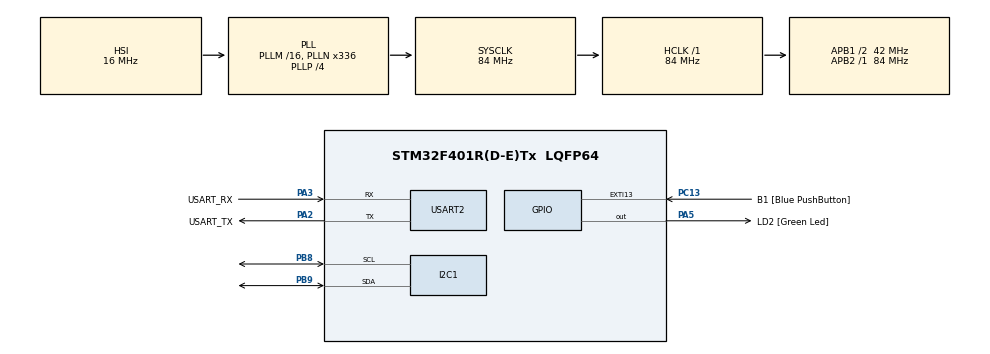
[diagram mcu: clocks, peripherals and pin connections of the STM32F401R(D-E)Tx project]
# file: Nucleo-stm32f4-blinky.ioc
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Mcu.Family=STM32F4
Mcu.Name=STM32F401R(D-E)Tx
Mcu.Package=LQFP64
NVIC.PriorityGroup=NVIC_PRIORITYGROUP_0
NVIC.TIM3_IRQn=true\:0\:0\:false\:false\:true\:true\:true\:true
PA13.GPIO_Label=TMS
PA13.Mode=Serial_Wire
PA13.Signal=SYS_JTMS-SWDIO
PA14.GPIO_Label=TCK
PA14.Mode=Serial_Wire
PA14.Signal=SYS_JTCK-SWCLK
PA2.GPIO_Label=USART_TX
PA2.GPIO_Mode=GPIO_MODE_AF_PP
PA2.GPIO_PuPd=GPIO_NOPULL
PA2.GPIO_Speed=GPIO_SPEED_FREQ_LOW
PA2.Mode=Asynchronous
PA2.Signal=USART2_TX
PA3.GPIO_Label=USART_RX
PA3.GPIO_Mode=GPIO_MODE_AF_PP
PA3.GPIO_PuPd=GPIO_NOPULL
PA3.GPIO_Speed=GPIO_SPEED_FREQ_LOW
PA3.Mode=Asynchronous
PA3.Signal=USART2_RX
PA5.GPIO_Label=LD2 [Green Led]
PA5.GPIO_Mode=GPIO_MODE_OUTPUT_PP
PA5.GPIO_PuPd=GPIO_NOPULL
PA5.GPIO_Speed=GPIO_SPEED_FREQ_LOW
PA5.Signal=GPIO_Output
PB3.GPIO_Label=SWO
PB3.Signal=SYS_JTDO-SWO
PB8.Mode=I2C
PB8.Signal=I2C1_SCL
PB9.Mode=I2C
PB9.Signal=I2C1_SDA
PC13-ANTI_TAMP.GPIO_Label=B1 [Blue PushButton]
PC13-ANTI_TAMP.GPIO_ModeDefaultEXTI=GPIO_MODE_IT_FALLING
PC13-ANTI_TAMP.GPIO_PuPd=GPIO_NOPULL
PC13-ANTI_TAMP.Signal=GPXTI13
PC14-OSC32_IN.Mode=LSE-External-Oscillator
PC14-OSC32_IN.Signal=RCC_OSC32_IN
PC15-OSC32_OUT.Mode=LSE-External-Oscillator
PC15-OSC32_OUT.Signal=RCC_OSC32_OUT
PH0\ -\ OSC_IN.Mode=HSE-External-Clock-Source
PH0\ -\ OSC_IN.Signal=RCC_OSC_IN
PH1\ -\ OSC_OUT.Mode=HSE-External-Clock-Source
PH1\ -\ OSC_OUT.Signal=RCC_OSC_OUT
ProjectManager.HeapSize=0x200
ProjectManager.StackSize=0x400
ProjectManager.TargetToolchain=STM32CubeIDE
RCC.48MHZClocksFreq_Value=48000000
RCC.AHBFreq_Value=84000000
RCC.APB1CLKDivider=RCC_HCLK_DIV2
RCC.APB1Freq_Value=42000000
RCC.APB1TimFreq_Value=84000000
RCC.APB2Freq_Value=84000000
RCC.APB2TimFreq_Value=84000000
RCC.CortexFreq_Value=84000000
RCC.HCLKFreq_Value=84000000
RCC.HSE_VALUE=8000000
RCC.HSI_VALUE=16000000
RCC.PLLN=336
RCC.PLLP=RCC_PLLP_DIV4
RCC.PLLQ=7
RCC.SYSCLKFreq_VALUE=84000000
RCC.SYSCLKSource=RCC_SYSCLKSOURCE_PLLCLK
RCC.VCOOutputFreq_Value=336000000
TIM3.AutoReloadPreload=TIM_AUTORELOAD_PRELOAD_ENABLE
TIM3.Period=5000
TIM3.Prescaler=16800
USART2.VirtualMode=VM_ASYNC
VP_TIM3_VS_ClockSourceINT.Mode=Internal
board=NUCLEO-F401RE

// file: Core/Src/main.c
/* USER CODE BEGIN Header */
/**
  ******************************************************************************
  * @file           : main.c
  * @brief          : Main program body
  ******************************************************************************
  * @attention
  *
  * Copyright (c) 2022 STMicroelectronics.
  * All rights reserved.
  *
  * This software is licensed under terms that can be found in the LICENSE file
  * in the root directory of this software component.
  * If no LICENSE file comes with this software, it is provided AS-IS.
  *
  ******************************************************************************
  */
/* USER CODE END Header */
#include "main.h"

/* USER CODE BEGIN Includes */
#include "sht3x.h"
#include <stdio.h>
/* USER CODE END Includes */

/* USER CODE BEGIN PD */
#define LED_COUNTER 5			//5*100 = 500 ms
#define SHT31_COUNTER 10			//10*100 = 1000ms
/* USER CODE END PD */

I2C_HandleTypeDef hi2c1;

TIM_HandleTypeDef htim3;

UART_HandleTypeDef huart2;

/* USER CODE BEGIN PV */
sht3x_handle_t sht31d;

typedef struct {
	float temp;
	float humidity;
} gen_sensor_struct;

gen_sensor_struct gen_sensor_struct_data;
uint16_t LED_counter = LED_COUNTER;
bool LED_counter_timeout_flag = false;
uint16_t SHT31_counter = SHT31_COUNTER;
bool SHT31_counter_timeout_flag = false;
/* USER CODE END PV */

void SystemClock_Config(void);
static void MX_GPIO_Init(void);
static void MX_USART2_UART_Init(void);
static void MX_I2C1_Init(void);
static void MX_TIM3_Init(void);

/* USER CODE BEGIN 0 */
void HAL_TIM_PeriodElapsedCallback(TIM_HandleTypeDef* htim)
{
	if(--LED_counter == 0)
	{
		LED_counter_timeout_flag = true;
		LED_counter = LED_COUNTER;
	}
	else{}

	//SHT31 handle
	if(--SHT31_counter == 0)
	{
		SHT31_counter_timeout_flag = true;
		SHT31_counter = SHT31_COUNTER;
	}

}
/* USER CODE END 0 */

int main(void)
{
  /* USER CODE BEGIN 1 */
  char uart_buf[40];
  uint32_t uart_buf_len;
  /* USER CODE END 1 */

  /* MCU Configuration--------------------------------------------------------*/

  /* Reset of all peripherals, Initializes the Flash interface and the Systick. */
  HAL_Init();

  /* Configure the system clock */
  SystemClock_Config();

  /* Initialize all configured peripherals */
  MX_GPIO_Init();
  MX_USART2_UART_Init();
  MX_I2C1_Init();
  MX_TIM3_Init();
  /* USER CODE BEGIN 2 */
  // Start timer
  HAL_TIM_Base_Start_IT(&htim3);
  gen_sensor_struct_data.humidity = 0;
  gen_sensor_struct_data.temp = 0;
  sht31d.i2c_handle = &hi2c1;
  sht31d.device_address = (uint16_t)SHT3X_I2C_DEVICE_ADDRESS_ADDR_PIN_LOW;
  sht3x_init(&sht31d);
  /* USER CODE END 2 */

  /* Infinite loop */
  /* USER CODE BEGIN WHILE */
  while (1)
  {

	  //HAL_GPIO_TogglePin(GPIOA, GPIO_PIN_5);

	  if(LED_counter_timeout_flag)
	  {
		  LED_counter_timeout_flag = false;
		  HAL_GPIO_TogglePin(GPIOA, GPIO_PIN_5);
	  }
	  if(SHT31_counter_timeout_flag)
	  {
		  SHT31_counter_timeout_flag = false;
		  sht3x_read_temperature_and_humidity(&sht31d, &(gen_sensor_struct_data.temp), &(gen_sensor_struct_data.humidity) );
		  //printf("Temperature: %.2f and Humidity: %.2f", gen_sensor_struct_data.temp, gen_sensor_struct_data.humidity);
		  uart_buf_len = sprintf(uart_buf, "\nTemperature: %0.2f and Humidity: %.2f", gen_sensor_struct_data.temp, gen_sensor_struct_data.humidity);
		  HAL_UART_Transmit(&huart2, (uint8_t *)uart_buf, uart_buf_len, 100);
	  }

    /* USER CODE END WHILE */

  }
}

void SystemClock_Config(void)
{
  RCC_OscInitTypeDef RCC_OscInitStruct = {0};
  RCC_ClkInitTypeDef RCC_ClkInitStruct = {0};

  /** Configure the main internal regulator output voltage
  */
  __HAL_RCC_PWR_CLK_ENABLE();
  __HAL_PWR_VOLTAGESCALING_CONFIG(PWR_REGULATOR_VOLTAGE_SCALE2);

  /** Initializes the RCC Oscillators according to the specified parameters
  * in the RCC_OscInitTypeDef structure.
  */
  RCC_OscInitStruct.OscillatorType = RCC_OSCILLATORTYPE_HSI;
  RCC_OscInitStruct.HSIState = RCC_HSI_ON;
  RCC_OscInitStruct.HSICalibrationValue = RCC_HSICALIBRATION_DEFAULT;
  RCC_OscInitStruct.PLL.PLLState = RCC_PLL_ON;
  RCC_OscInitStruct.PLL.PLLSource = RCC_PLLSOURCE_HSI;
  RCC_OscInitStruct.PLL.PLLM = 16;
  RCC_OscInitStruct.PLL.PLLN = 336;
  RCC_OscInitStruct.PLL.PLLP = RCC_PLLP_DIV4;
  RCC_OscInitStruct.PLL.PLLQ = 7;
  if (HAL_RCC_OscConfig(&RCC_OscInitStruct) != HAL_OK)
  {
    Error_Handler();
  }

  /** Initializes the CPU, AHB and APB buses clocks
  */
  RCC_ClkInitStruct.ClockType = RCC_CLOCKTYPE_HCLK|RCC_CLOCKTYPE_SYSCLK
                              |RCC_CLOCKTYPE_PCLK1|RCC_CLOCKTYPE_PCLK2;
  RCC_ClkInitStruct.SYSCLKSource = RCC_SYSCLKSOURCE_PLLCLK;
  RCC_ClkInitStruct.AHBCLKDivider = RCC_SYSCLK_DIV1;
  RCC_ClkInitStruct.APB1CLKDivider = RCC_HCLK_DIV2;
  RCC_ClkInitStruct.APB2CLKDivider = RCC_HCLK_DIV1;

  if (HAL_RCC_ClockConfig(&RCC_ClkInitStruct, FLASH_LATENCY_2) != HAL_OK)
  {
    Error_Handler();
  }
}

static void MX_I2C1_Init(void)
{

  hi2c1.Instance = I2C1;
  hi2c1.Init.ClockSpeed = 100000;
  hi2c1.Init.DutyCycle = I2C_DUTYCYCLE_2;
  hi2c1.Init.OwnAddress1 = 0;
  hi2c1.Init.AddressingMode = I2C_ADDRESSINGMODE_7BIT;
  hi2c1.Init.DualAddressMode = I2C_DUALADDRESS_DISABLE;
  hi2c1.Init.OwnAddress2 = 0;
  hi2c1.Init.GeneralCallMode = I2C_GENERALCALL_DISABLE;
  hi2c1.Init.NoStretchMode = I2C_NOSTRETCH_DISABLE;
  if (HAL_I2C_Init(&hi2c1) != HAL_OK)
  {
    Error_Handler();
  }

}

static void MX_TIM3_Init(void)
{

  TIM_ClockConfigTypeDef sClockSourceConfig = {0};
  TIM_MasterConfigTypeDef sMasterConfig = {0};

  htim3.Instance = TIM3;
  htim3.Init.Prescaler = 16800;
  htim3.Init.CounterMode = TIM_COUNTERMODE_UP;
  htim3.Init.Period = 500;
  htim3.Init.ClockDivision = TIM_CLOCKDIVISION_DIV1;
  htim3.Init.AutoReloadPreload = TIM_AUTORELOAD_PRELOAD_ENABLE;
  if (HAL_TIM_Base_Init(&htim3) != HAL_OK)
  {
    Error_Handler();
  }
  sClockSourceConfig.ClockSource = TIM_CLOCKSOURCE_INTERNAL;
  if (HAL_TIM_ConfigClockSource(&htim3, &sClockSourceConfig) != HAL_OK)
  {
    Error_Handler();
  }
  sMasterConfig.MasterOutputTrigger = TIM_TRGO_RESET;
  sMasterConfig.MasterSlaveMode = TIM_MASTERSLAVEMODE_DISABLE;
  if (HAL_TIMEx_MasterConfigSynchronization(&htim3, &sMasterConfig) != HAL_OK)
  {
    Error_Handler();
  }

}

static void MX_USART2_UART_Init(void)
{

  huart2.Instance = USART2;
  huart2.Init.BaudRate = 115200;
  huart2.Init.WordLength = UART_WORDLENGTH_8B;
  huart2.Init.StopBits = UART_STOPBITS_1;
  huart2.Init.Parity = UART_PARITY_NONE;
  huart2.Init.Mode = UART_MODE_TX_RX;
  huart2.Init.HwFlowCtl = UART_HWCONTROL_NONE;
  huart2.Init.OverSampling = UART_OVERSAMPLING_16;
  if (HAL_UART_Init(&huart2) != HAL_OK)
  {
    Error_Handler();
  }

}

static void MX_GPIO_Init(void)
{
  GPIO_InitTypeDef GPIO_InitStruct = {0};

  /* GPIO Ports Clock Enable */
  __HAL_RCC_GPIOC_CLK_ENABLE();
  __HAL_RCC_GPIOH_CLK_ENABLE();
  __HAL_RCC_GPIOA_CLK_ENABLE();
  __HAL_RCC_GPIOB_CLK_ENABLE();

  /*Configure GPIO pin Output Level */
  HAL_GPIO_WritePin(LD2_GPIO_Port, LD2_Pin, GPIO_PIN_RESET);

  /*Configure GPIO pin : B1_Pin */
  GPIO_InitStruct.Pin = B1_Pin;
  GPIO_InitStruct.Mode = GPIO_MODE_IT_FALLING;
  GPIO_InitStruct.Pull = GPIO_NOPULL;
  HAL_GPIO_Init(B1_GPIO_Port, &GPIO_InitStruct);

  /*Configure GPIO pin : LD2_Pin */
  GPIO_InitStruct.Pin = LD2_Pin;
  GPIO_InitStruct.Mode = GPIO_MODE_OUTPUT_PP;
  GPIO_InitStruct.Pull = GPIO_NOPULL;
  GPIO_InitStruct.Speed = GPIO_SPEED_FREQ_LOW;
  HAL_GPIO_Init(LD2_GPIO_Port, &GPIO_InitStruct);

}

void Error_Handler(void)
{
  __disable_irq();
  while (1)
  {
  }
}
